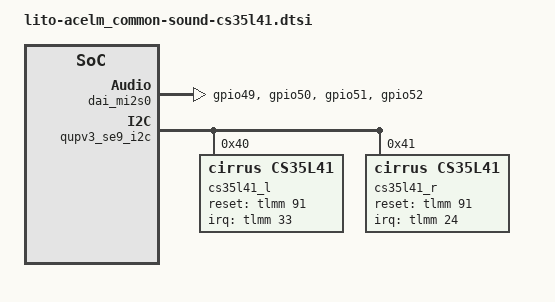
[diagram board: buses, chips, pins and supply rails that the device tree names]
/* SPDX-License-Identifier: GPL-2.0-only */
/*
 * Copyright (c) 2018-2019, The Linux Foundation. All rights reserved.
 */

/*
 * Copyright (c) 2018, The Linux Foundation. All rights reserved.
 *
 * This program is free software; you can redistribute it and/or modify
 * it under the terms of the GNU General Public License version 2 and
 * only version 2 as published by the Free Software Foundation.
 *
 * This program is distributed in the hope that it will be useful,
 * but WITHOUT ANY WARRANTY; without even the implied warranty of
 * MERCHANTABILITY or FITNESS FOR A PARTICULAR PURPOSE.  See the
 * GNU General Public License for more details.
 */
&tlmm {
	cs35l41_l_int {
		cs35l41_l_int_default: cs35l41_l_int_default {
			mux {
				pins = "gpio33";
				function = "gpio";
			};

			config {
				pins = "gpio33";
				drive-strength = <2>; /* 2 mA */
				bias-pull-up;
				input-enable;
			};
		};
	};
	cs35l41_r_int {
		cs35l41_r_int_default: cs35l41_r_int_default {
			mux {
				pins = "gpio24";
				function = "gpio";
			};

			config {
				pins = "gpio24";
				drive-strength = <2>; /* 2 mA */
				bias-pull-up;
				input-enable;
			};
		};
	};
	cs35l41_reset {
		cs35l41_reset_default: cs35l41_reset_default {
			mux {
				pins = "gpio91";
				function = "gpio";
			};

			config {
				pins = "gpio91";
				drive-strength = <2>;
				bias-pull-down;
				output-high;
			};
		};
	};
	pri_mi2s_sck {
		pri_mi2s_sck_sleep: pri_mi2s_sck_sleep {
			mux {
				pins = "gpio49";
				function = "gpio";
			};

			config {
				pins = "gpio49";
				drive-strength = <2>;   /* 2 mA */
				bias-pull-down;         /* PULL DOWN */
				input-enable;
			};
		};

		pri_mi2s_sck_active: pri_mi2s_sck_active {
			mux {
				pins = "gpio49";
				function = "pri_mi2s";
			};

			config {
				pins = "gpio49";
				drive-strength = <8>;   /* 8 mA */
				bias-disable;           /* NO PULL */
			};
		};
	};

	pri_mi2s_ws {
		pri_mi2s_ws_sleep: pri_mi2s_ws_sleep {
			mux {
				pins = "gpio50";
				function = "gpio";
			};

			config {
				pins = "gpio50";
				drive-strength = <2>;   /* 2 mA */
				bias-pull-down;         /* PULL DOWN */
				input-enable;
			};
		};

		pri_mi2s_ws_active: pri_mi2s_ws_active {
			mux {
				pins = "gpio50";
				function = "pri_mi2s_ws";
			};

			config {
				pins = "gpio50";
				drive-strength = <8>;   /* 8 mA */
				bias-disable;           /* NO PULL */
			};
		};
	};

	pri_mi2s_sd0 {
		pri_mi2s_sd0_sleep: pri_mi2s_sd0_sleep {
			mux {
				pins = "gpio51";
				function = "gpio";
			};

			config {
				pins = "gpio51";
				drive-strength = <2>;   /* 2 mA */
				bias-pull-down;         /* PULL DOWN */
				input-enable;
			};
		};

		pri_mi2s_sd0_active: pri_mi2s_sd0_active {
			mux {
				pins = "gpio51";
				function = "pri_mi2s";
			};

			config {
				pins = "gpio51";
				drive-strength = <8>;   /* 8 mA */
				bias-disable;           /* NO PULL */
			};
		};
	};
	pri_mi2s_sd1 {
		pri_mi2s_sd1_sleep: pri_mi2s_sd1_sleep {
			mux {
				pins = "gpio52";
				function = "gpio";
			};

			config {
				pins = "gpio52";
				drive-strength = <2>;   /* 2 mA */
				bias-pull-down;         /* PULL DOWN */
				input-enable;
			};
		};

		pri_mi2s_sd1_active: pri_mi2s_sd1_active {
			mux {
				pins = "gpio52";
				function = "pri_mi2s";
			};

			config {
				pins = "gpio52";
				drive-strength = <8>;   /* 8 mA */
				bias-disable;           /* NO PULL */
			};
		};
	};
};

&dai_mi2s0 {
	qcom,msm-mi2s-rx-lines = <2>; /* SD1 used as output */
	qcom,msm-mi2s-tx-lines = <1>; /* SD0 used as input */
	pinctrl-names = "default", "sleep";
	pinctrl-0 = <&pri_mi2s_sck_active &pri_mi2s_ws_active
			&pri_mi2s_sd0_active &pri_mi2s_sd1_active>;
	pinctrl-1 = <&pri_mi2s_sck_sleep &pri_mi2s_ws_sleep
			&pri_mi2s_sd0_sleep &pri_mi2s_sd1_sleep>;
};

&qupv3_se9_i2c{ /* QUPV3 SE4  */
	cs35l41_l: cs35l41@40 {
		#sound-dai-cells = <1>;
		compatible = "cirrus,cs35l41";
		status = "ok";
		reg = <0x40>;
		pinctrl-names = "default";
		pinctrl-0 = <&cs35l41_l_int_default>,<&cs35l41_reset_default>;

		interrupt-parent = <&tlmm>;
		interrupts = <33 IRQ_TYPE_LEVEL_LOW>;
		reset-gpios = <&tlmm 91 0x0>;

		cirrus,fwname-use-revid;
		cirrus,boost-peak-milliamp = <4500>;
		cirrus,boost-ind-nanohenry = <1000>;
		cirrus,boost-cap-microfarad = <15>;
		cirrus,asp-sdout-hiz = <3>;
		cirrus,fast-switch = "spk_bypass_off.txt", "spk_bypass_on.txt";

		cirrus,gpio-config2 {
			cirrus,gpio-src-select = <0x4>;
			cirrus,gpio-output-enable;
		};
	};

	cs35l41_r: cs35l41@41 {
		#sound-dai-cells = <1>;
		compatible = "cirrus,cs35l41";
		reg = <0x41>;
		pinctrl-names = "default";
		pinctrl-0 = <&cs35l41_r_int_default>;

		interrupt-parent = <&tlmm>;
		interrupts = <24 IRQ_TYPE_LEVEL_LOW>;
		reset-gpios = <&tlmm 91 0x0>;

		cirrus,right-channel-amp;
		cirrus,fwname-use-revid;
		cirrus,boost-peak-milliamp = <4500>;
		cirrus,boost-ind-nanohenry = <1000>;
		cirrus,boost-cap-microfarad = <15>;
		cirrus,asp-sdout-hiz = <3>;
		cirrus,fast-switch = "rcv_bypass_off.txt", "rcv_bypass_on.txt";

		cirrus,gpio-config2 {
			cirrus,gpio-src-select = <0x4>;
			cirrus,gpio-output-enable;
		};
	};
};
